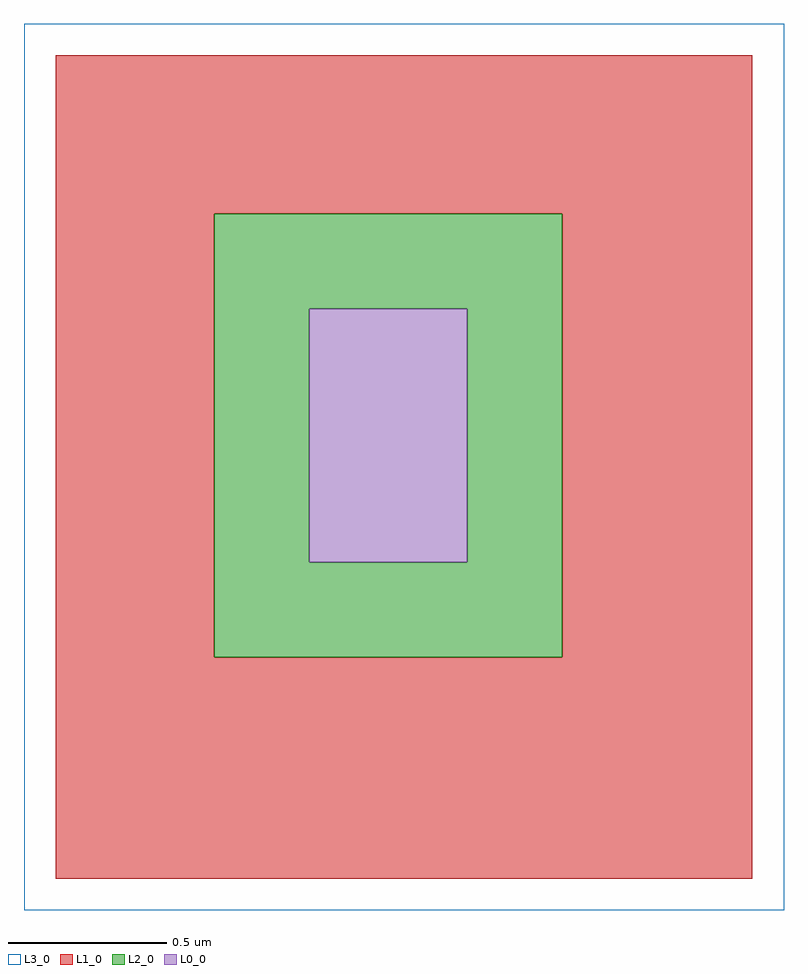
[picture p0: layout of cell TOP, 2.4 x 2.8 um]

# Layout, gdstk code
import gdstk
lib = gdstk.Library(unit=1e-6, precision=1e-09)
def R(c, l, rs):  # rectangles x0, y0, x1, y1
    for r in rs: c.add(gdstk.rectangle(r[:2], r[2:], *l))
L0_0 = (0, 0)
L1_0 = (1, 0)
L2_0 = (2, 0)
L3_0 = (3, 0)

top = lib.new_cell('TOP')
R(top, L0_0, [(0.2,-0.2,0.7,0.6)])
R(top, L1_0, [(-0.6,-1.2,1.6,-0.5), (-0.6,-0.5,-0.1,0.9), (1,-0.5,1.6,0.9), (-0.6,0.9,1.6,1.4)])
R(top, L2_0, [(-0.1,-0.5,1,-0.2), (-0.1,-0.2,0.2,0.6), (0.7,-0.2,1,0.6), (-0.1,0.6,1,0.9)])
R(top, L3_0, [(-0.7,-1.3,1.7,1.5)])

lib.write_gds('TOP.gds')
